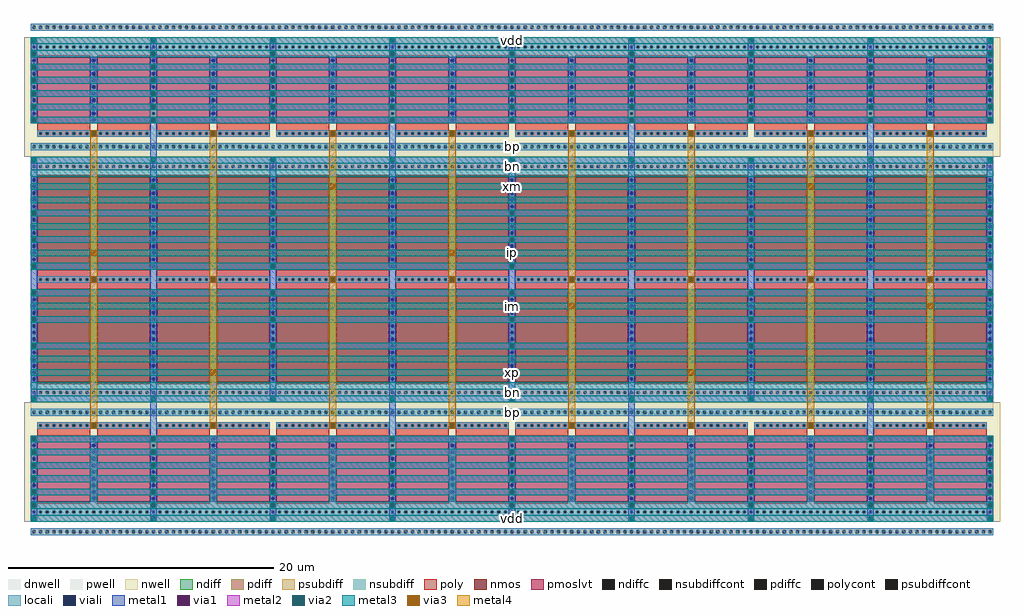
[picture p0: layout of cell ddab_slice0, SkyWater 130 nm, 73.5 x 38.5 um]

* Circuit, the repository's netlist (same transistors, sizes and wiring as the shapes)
* NGSPICE file created from ddab_slice0.ext - technology: sky130A

.subckt inv1p1 in out bp bn vreg vss vsub
X0 vreg in out bp sky130_fd_pr__pfet_01v8_lvt ad=2.5 pd=11 as=1.25 ps=5.5 w=5 l=4
X1 out in vreg bp sky130_fd_pr__pfet_01v8_lvt ad=1.25 pd=5.5 as=2.5 ps=11 w=5 l=4
X2 out in xt bn sky130_fd_pr__nfet_01v8 ad=3.5 pd=15 as=1.75 ps=7.5 w=7 l=4
X3 out in xb bn sky130_fd_pr__nfet_01v8 ad=3.5 pd=15 as=1.75 ps=7.5 w=7 l=4
X4 out in vreg bp sky130_fd_pr__pfet_01v8_lvt ad=1.25 pd=5.5 as=2.5 ps=11 w=5 l=4
X5 xt in vss bn sky130_fd_pr__nfet_01v8 ad=1.75 pd=7.5 as=3.5 ps=15 w=7 l=4
X6 vreg in out bp sky130_fd_pr__pfet_01v8_lvt ad=2.5 pd=11 as=1.25 ps=5.5 w=5 l=4
X7 xb in vss bn sky130_fd_pr__nfet_01v8 ad=1.75 pd=7.5 as=3.5 ps=15 w=7 l=4
.ends

.subckt ddab_slice0 ip im xm xp op om bp bn vdd vss vsub
Xa0 ip xm bp bn vdd vss vsub inv1p1
Xa1 xp xm bp bn vdd vss vsub inv1p1
Xa2 xm xm bp bn vdd vss vsub inv1p1
Xa3 ip xm bp bn vdd vss vsub inv1p1
Xa4 im xp bp bn vdd vss vsub inv1p1
Xa6 xm xp bp bn vdd vss vsub inv1p1
Xa5 xp xp bp bn vdd vss vsub inv1p1
Xa7 im xp bp bn vdd vss vsub inv1p1
.ends

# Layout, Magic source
magic
tech sky130A
<< locali >>
rect 50 3800 7300 3850
rect 50 2900 7300 2950
rect 50 2750 7300 2800
rect 50 1050 7300 1100
rect 50 900 7300 950
rect 50 0 7300 50
<< viali >>
rect 2765 2615 2785 2635
rect 4565 1215 4585 1235
rect 6365 1215 6385 1235
<< metal1 >>
rect 950 2640 1000 2650
rect 950 2610 960 2640
rect 990 2610 1000 2640
rect 950 2600 1000 2610
rect 2750 2640 2800 2650
rect 2750 2610 2760 2640
rect 2790 2610 2800 2640
rect 2750 2600 2800 2610
rect 4550 1240 4600 1250
rect 4550 1210 4560 1240
rect 4590 1210 4600 1240
rect 4550 1200 4600 1210
rect 6350 1240 6400 1250
rect 6350 1210 6360 1240
rect 6390 1210 6400 1240
rect 6350 1200 6400 1210
<< via1 >>
rect 960 2610 990 2640
rect 2760 2610 2790 2640
rect 4560 1235 4590 1240
rect 4560 1215 4565 1235
rect 4565 1215 4585 1235
rect 4585 1215 4590 1235
rect 4560 1210 4590 1215
rect 6360 1235 6390 1240
rect 6360 1215 6365 1235
rect 6365 1215 6385 1235
rect 6385 1215 6390 1235
rect 6360 1210 6390 1215
<< metal2 >>
rect 950 2640 1000 2650
rect 950 2610 960 2640
rect 990 2610 1000 2640
rect 950 2600 1000 2610
rect 2750 2640 2800 2650
rect 2750 2610 2760 2640
rect 2790 2610 2800 2640
rect 2750 2600 2800 2610
rect 4550 1240 4600 1250
rect 4550 1210 4560 1240
rect 4590 1210 4600 1240
rect 4550 1200 4600 1210
rect 6350 1240 6400 1250
rect 6350 1210 6360 1240
rect 6390 1210 6400 1240
rect 6350 1200 6400 1210
<< via2 >>
rect 960 2610 990 2640
rect 2760 2610 2790 2640
rect 4560 1210 4590 1240
rect 6360 1210 6390 1240
<< metal3 >>
rect 50 3700 7300 3750
rect 50 2800 7300 2850
rect 50 2700 7300 2750
rect 50 2645 7300 2650
rect 50 2640 2305 2645
rect 50 2610 960 2640
rect 990 2610 2305 2640
rect 50 2605 2305 2610
rect 2345 2640 5905 2645
rect 2345 2610 2760 2640
rect 2790 2610 5905 2640
rect 2345 2605 5905 2610
rect 5945 2605 7300 2645
rect 50 2600 7300 2605
rect 50 2500 7300 2550
rect 50 2300 7300 2350
rect 50 2145 7300 2150
rect 50 2105 505 2145
rect 545 2105 3205 2145
rect 3245 2105 7300 2145
rect 50 2100 7300 2105
rect 50 1745 7300 1750
rect 50 1705 4105 1745
rect 4145 1705 6805 1745
rect 6845 1705 7300 1745
rect 50 1700 7300 1705
rect 50 1300 7300 1350
rect 50 1245 7300 1250
rect 50 1205 1405 1245
rect 1445 1240 5005 1245
rect 1445 1210 4560 1240
rect 4590 1210 5005 1240
rect 1445 1205 5005 1210
rect 5045 1240 7300 1245
rect 5045 1210 6360 1240
rect 6390 1210 7300 1240
rect 5045 1205 7300 1210
rect 50 1200 7300 1205
rect 50 1100 7300 1150
rect 50 1000 7300 1050
rect 50 100 7300 150
<< via3 >>
rect 2305 2605 2345 2645
rect 5905 2605 5945 2645
rect 505 2105 545 2145
rect 3205 2105 3245 2145
rect 4105 1705 4145 1745
rect 6805 1705 6845 1745
rect 1405 1205 1445 1245
rect 5005 1205 5045 1245
<< metal4 >>
rect 2300 2645 2350 2650
rect 2300 2605 2305 2645
rect 2345 2605 2350 2645
rect 2300 2600 2350 2605
rect 5900 2645 5950 2650
rect 5900 2605 5905 2645
rect 5945 2605 5950 2645
rect 5900 2600 5950 2605
rect 500 2145 550 2150
rect 500 2105 505 2145
rect 545 2105 550 2145
rect 500 2100 550 2105
rect 3200 2145 3250 2150
rect 3200 2105 3205 2145
rect 3245 2105 3250 2145
rect 3200 2100 3250 2105
rect 4100 1745 4150 1750
rect 4100 1705 4105 1745
rect 4145 1705 4150 1745
rect 4100 1700 4150 1705
rect 6800 1745 6850 1750
rect 6800 1705 6805 1745
rect 6845 1705 6850 1745
rect 6800 1700 6850 1705
rect 1400 1245 1450 1250
rect 1400 1205 1405 1245
rect 1445 1205 1450 1245
rect 1400 1200 1450 1205
rect 5000 1245 5050 1250
rect 5000 1205 5005 1245
rect 5045 1205 5050 1245
rect 5000 1200 5050 1205
use inv1p1  a0
transform 1 0 50 0 1 0
box -50 0 1000 3850
use inv1p1  a1
transform -1 0 1900 0 1 0
box -50 0 1000 3850
use inv1p1  a2
transform 1 0 1850 0 1 0
box -50 0 1000 3850
use inv1p1  a3
transform -1 0 3700 0 1 0
box -50 0 1000 3850
use inv1p1  a4
transform 1 0 3650 0 1 0
box -50 0 1000 3850
use inv1p1  a5
transform -1 0 5500 0 1 0
box -50 0 1000 3850
use inv1p1  a6
transform 1 0 5450 0 1 0
box -50 0 1000 3850
use inv1p1  a7
transform -1 0 7300 0 1 0
box -50 0 1000 3850
<< labels >>
rlabel metal3 50 2100 7300 2150 0 ip
port 1 nsew
rlabel metal3 50 1700 7300 1750 0 im
port 2 nsew
rlabel metal3 50 2600 7300 2650 0 xm
port 3 nsew
rlabel metal3 50 1200 7300 1250 0 xp
port 4 nsew
rlabel metal3 50 2700 7300 2750 0 op
port 5 nsew
rlabel metal3 50 2500 7300 2550 0 op
port 5 nsew
rlabel metal3 50 1300 7300 1350 0 om
port 6 nsew
rlabel metal3 50 1100 7300 1150 0 om
port 6 nsew
rlabel locali 50 2900 7300 2950 0 bp
port 7 nsew
rlabel locali 50 900 7300 950 0 bp
port 7 nsew
rlabel locali 50 2750 7300 2800 0 bn
port 8 nsew
rlabel locali 50 1050 7300 1100 0 bn
port 8 nsew
rlabel metal3 50 3700 7300 3750 0 vdd
port 9 nsew
rlabel metal3 50 100 7300 150 0 vdd
port 9 nsew
rlabel metal3 50 2800 7300 2850 0 vss
port 10 nsew
rlabel metal3 50 1000 7300 1050 0 vss
port 10 nsew
rlabel locali 50 3800 7300 3850 0 vsub
port 11 nsew
rlabel locali 50 0 7300 50 0 vsub
port 11 nsew
<< end >>

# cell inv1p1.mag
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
